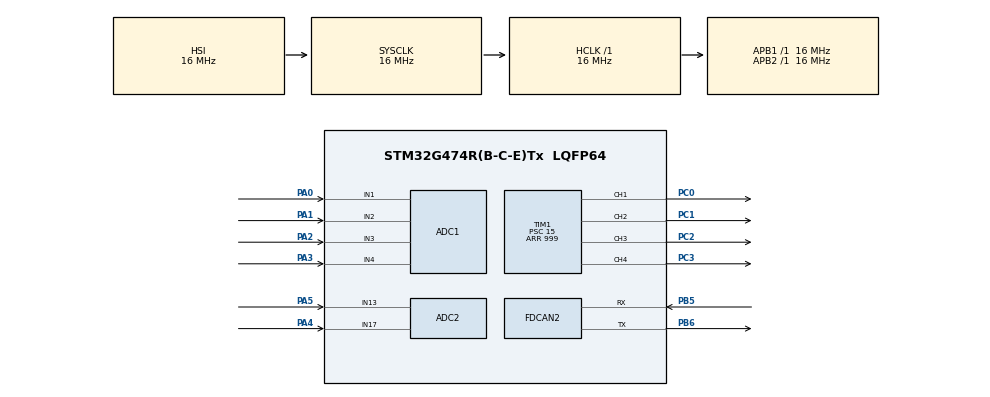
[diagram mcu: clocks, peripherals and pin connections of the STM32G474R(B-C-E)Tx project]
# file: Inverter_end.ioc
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ADC1.Channel-0\#ChannelRegularConversion=ADC_CHANNEL_1
ADC1.Channel-1\#ChannelRegularConversion=ADC_CHANNEL_2
ADC1.Channel-2\#ChannelRegularConversion=ADC_CHANNEL_3
ADC1.Channel-3\#ChannelRegularConversion=ADC_CHANNEL_4
ADC1.ClockPrescaler=ADC_CLOCK_ASYNC_DIV1
ADC1.ContinuousConvMode=ENABLE
ADC1.DMAContinuousRequests=DISABLE
ADC1.EOCSelection=ADC_EOC_SEQ_CONV
ADC1.NbrOfConversion=4
ADC1.NbrOfConversionFlag=1
ADC1.OffsetNumber-0\#ChannelRegularConversion=ADC_OFFSET_NONE
ADC1.OffsetNumber-1\#ChannelRegularConversion=ADC_OFFSET_NONE
ADC1.OffsetNumber-2\#ChannelRegularConversion=ADC_OFFSET_NONE
ADC1.OffsetNumber-3\#ChannelRegularConversion=ADC_OFFSET_NONE
ADC1.Overrun=ADC_OVR_DATA_OVERWRITTEN
ADC1.Rank-0\#ChannelRegularConversion=1
ADC1.Rank-1\#ChannelRegularConversion=2
ADC1.Rank-2\#ChannelRegularConversion=3
ADC1.Rank-3\#ChannelRegularConversion=4
ADC1.SamplingTime-0\#ChannelRegularConversion=ADC_SAMPLETIME_2CYCLES_5
ADC1.SamplingTime-1\#ChannelRegularConversion=ADC_SAMPLETIME_6CYCLES_5
ADC1.SamplingTime-2\#ChannelRegularConversion=ADC_SAMPLETIME_12CYCLES_5
ADC1.SamplingTime-3\#ChannelRegularConversion=ADC_SAMPLETIME_24CYCLES_5
ADC1.master=1
ADC2.Channel-0\#ChannelRegularConversion=ADC_CHANNEL_17
ADC2.Channel-1\#ChannelRegularConversion=ADC_CHANNEL_13
ADC2.ClockPrescaler=ADC_CLOCK_ASYNC_DIV1
ADC2.ContinuousConvMode=ENABLE
ADC2.DMAContinuousRequests=DISABLE
ADC2.EOCSelection=ADC_EOC_SEQ_CONV
ADC2.NbrOfConversion=2
ADC2.NbrOfConversionFlag=1
ADC2.OffsetNumber-0\#ChannelRegularConversion=ADC_OFFSET_NONE
ADC2.OffsetNumber-1\#ChannelRegularConversion=ADC_OFFSET_NONE
ADC2.Overrun=ADC_OVR_DATA_OVERWRITTEN
ADC2.Rank-0\#ChannelRegularConversion=1
ADC2.Rank-1\#ChannelRegularConversion=2
ADC2.SamplingTime-0\#ChannelRegularConversion=ADC_SAMPLETIME_2CYCLES_5
ADC2.SamplingTime-1\#ChannelRegularConversion=ADC_SAMPLETIME_6CYCLES_5
Dma.ADC1.0.Direction=DMA_PERIPH_TO_MEMORY
Dma.ADC1.0.EventEnable=DISABLE
Dma.ADC1.0.Instance=DMA1_Channel1
Dma.ADC1.0.MemDataAlignment=DMA_MDATAALIGN_WORD
Dma.ADC1.0.MemInc=DMA_MINC_ENABLE
Dma.ADC1.0.Mode=DMA_NORMAL
Dma.ADC1.0.PeriphDataAlignment=DMA_PDATAALIGN_WORD
Dma.ADC1.0.PeriphInc=DMA_PINC_DISABLE
Dma.ADC1.0.Polarity=HAL_DMAMUX_REQ_GEN_RISING
Dma.ADC1.0.Priority=DMA_PRIORITY_LOW
Dma.ADC1.0.RequestNumber=1
Dma.ADC1.0.SignalID=NONE
Dma.ADC1.0.SyncEnable=DISABLE
Dma.ADC1.0.SyncPolarity=HAL_DMAMUX_SYNC_NO_EVENT
Dma.ADC1.0.SyncRequestNumber=1
Dma.ADC1.0.SyncSignalID=NONE
Dma.ADC2.1.Direction=DMA_PERIPH_TO_MEMORY
Dma.ADC2.1.EventEnable=DISABLE
Dma.ADC2.1.Instance=DMA1_Channel2
Dma.ADC2.1.MemDataAlignment=DMA_MDATAALIGN_WORD
Dma.ADC2.1.MemInc=DMA_MINC_ENABLE
Dma.ADC2.1.Mode=DMA_NORMAL
Dma.ADC2.1.PeriphDataAlignment=DMA_PDATAALIGN_WORD
Dma.ADC2.1.PeriphInc=DMA_PINC_DISABLE
Dma.ADC2.1.Polarity=HAL_DMAMUX_REQ_GEN_RISING
Dma.ADC2.1.Priority=DMA_PRIORITY_LOW
Dma.ADC2.1.RequestNumber=1
Dma.ADC2.1.SignalID=NONE
Dma.ADC2.1.SyncEnable=DISABLE
Dma.ADC2.1.SyncPolarity=HAL_DMAMUX_SYNC_NO_EVENT
Dma.ADC2.1.SyncRequestNumber=1
Dma.ADC2.1.SyncSignalID=NONE
Dma.Request0=ADC1
Dma.Request1=ADC2
FDCAN2.CalculateBaudRateNominal=333333
FDCAN2.CalculateTimeBitNominal=3000
FDCAN2.CalculateTimeQuantumNominal=1000.0
FREERTOS.BinarySemaphores01=myBinarySem01,Dynamic,NULL,Available;myBinarySem02,Dynamic,NULL,Available
FREERTOS.Tasks01=defaultTask,0,128,StartDefaultTask,Default,NULL,Dynamic,NULL,NULL;myTask02,0,128,StartTask02,Default,NULL,Dynamic,NULL,NULL;myTask03,0,128,StartTask03,Default,NULL,Dynamic,NULL,NULL
FREERTOS.configUSE_NEWLIB_REENTRANT=1
Mcu.Family=STM32G4
Mcu.Name=STM32G474R(B-C-E)Tx
Mcu.Package=LQFP64
NVIC.ADC1_2_IRQn=true\:5\:0\:false\:false\:true\:true\:true\:true\:true
NVIC.DMA1_Channel1_IRQn=true\:5\:0\:false\:false\:true\:true\:false\:true\:true
NVIC.DMA1_Channel2_IRQn=true\:5\:0\:false\:false\:true\:true\:false\:true\:true
NVIC.FDCAN2_IT0_IRQn=true\:5\:0\:false\:false\:true\:true\:true\:true\:true
NVIC.PriorityGroup=NVIC_PRIORITYGROUP_4
NVIC.TIM1_UP_TIM16_IRQn=true\:5\:0\:false\:false\:true\:true\:true\:true\:true
PA0.Mode=IN1-Single-Ended
PA0.Signal=ADC1_IN1
PA1.Mode=IN2-Single-Ended
PA1.Signal=ADC1_IN2
PA2.Mode=IN3-Single-Ended
PA2.Signal=ADC1_IN3
PA3.Mode=IN4-Single-Ended
PA3.Signal=ADC1_IN4
PA4.Mode=IN17-Single-Ended
PA4.Signal=ADC2_IN17
PA5.Mode=IN13-Single-Ended
PA5.Signal=ADC2_IN13
PB5.Mode=FDCAN_Activate
PB5.Signal=FDCAN2_RX
PB6.Mode=FDCAN_Activate
PB6.Signal=FDCAN2_TX
PC0.Signal=S_TIM1_CH1
PC1.Signal=S_TIM1_CH2
PC2.Signal=S_TIM1_CH3
PC3.Signal=S_TIM1_CH4
ProjectManager.HeapSize=0x200
ProjectManager.StackSize=0x400
ProjectManager.TargetToolchain=STM32CubeIDE
RCC.ADC12Freq_Value=16000000
RCC.ADC345Freq_Value=16000000
RCC.AHBFreq_Value=16000000
RCC.APB1Freq_Value=16000000
RCC.APB1TimFreq_Value=16000000
RCC.APB2Freq_Value=16000000
RCC.APB2TimFreq_Value=16000000
RCC.CortexFreq_Value=16000000
RCC.EXTERNAL_CLOCK_VALUE=12288000
RCC.HCLKFreq_Value=16000000
RCC.HSE_VALUE=8000000
RCC.HSI48_VALUE=48000000
RCC.HSI_VALUE=16000000
RCC.LSE_VALUE=32768
RCC.SYSCLKFreq_VALUE=16000000
RCC.USBFreq_Value=64000000
RCC.VCOOutputFreq_Value=128000000
SH.S_TIM1_CH1.0=TIM1_CH1,PWM Generation1 CH1
SH.S_TIM1_CH2.0=TIM1_CH2,PWM Generation2 CH2
SH.S_TIM1_CH3.0=TIM1_CH3,PWM Generation3 CH3
SH.S_TIM1_CH4.0=TIM1_CH4,PWM Generation4 CH4
TIM1.Channel-PWM\ Generation1\ CH1=TIM_CHANNEL_1
TIM1.Channel-PWM\ Generation2\ CH2=TIM_CHANNEL_2
TIM1.Channel-PWM\ Generation3\ CH3=TIM_CHANNEL_3
TIM1.Channel-PWM\ Generation4\ CH4=TIM_CHANNEL_4
TIM1.PeriodNoDither=999
TIM1.Prescaler=15
VP_FREERTOS_VS_CMSIS_V1.Mode=CMSIS_V1
VP_SYS_VS_DBSignals.Mode=DisableDeadBatterySignals
board=custom

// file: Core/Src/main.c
/* USER CODE BEGIN Header */
/**
  ******************************************************************************
  * @file           : main.c
  * @brief          : Main program body
  ******************************************************************************
  * @attention
  *
  * Copyright (c) 2024 STMicroelectronics.
  * All rights reserved.
  *
  * This software is licensed under terms that can be found in the LICENSE file
  * in the root directory of this software component.
  * If no LICENSE file comes with this software, it is provided AS-IS.
  *
  ******************************************************************************
  */
/* USER CODE END Header */
#include "main.h"
#include "cmsis_os.h"
#include <stdbool.h>

#include "string.h"
#include "stdio.h"
#include "math.h"
#include "stdlib.h"

FDCAN_TxHeaderTypeDef txHeader;

ADC_HandleTypeDef hadc1;
ADC_HandleTypeDef hadc2;
DMA_HandleTypeDef hdma_adc1;
DMA_HandleTypeDef hdma_adc2;

FDCAN_HandleTypeDef hfdcan2;

TIM_HandleTypeDef htim1;

osThreadId defaultTaskHandle;
osThreadId myTask02Handle;
osThreadId myTask03Handle;
osSemaphoreId myBinarySem01Handle;
osSemaphoreId myBinarySem02Handle;

void SystemClock_Config(void);
static void MX_GPIO_Init(void);
static void MX_DMA_Init(void);
static void MX_ADC1_Init(void);
static void MX_FDCAN2_Init(void);
static void MX_TIM1_Init(void);
static void MX_ADC2_Init(void);
void StartDefaultTask(void const * argument);
void StartTask02(void const * argument);
void StartTask03(void const * argument);

/* USER CODE BEGIN PFP */
void startSPWM(float switchingFreq, float sinFreq, float amp, bool reversed);
void invCommand(uint8_t sw1, uint8_t amplitude1, uint8_t frequency1);
void stopSPWM();
void ERROR_FUNCTION(int error_code);
uint8_t getTemp(uint8_t a);

int START_FLAG = 0;
uint8_t SYSTEM_STATE = 0;
int ERROR_CODE = '0';

HAL_StatusTypeDef ret;

uint16_t samples;
uint16_t * lookUp;
uint16_t num1 = 0, num2, num3;
uint16_t count = 0;
bool directionReversed = false;
uint8_t sw, frequency, amplitude;

int v;
/*
uint32_t AD_RES_BUFFER[4];
ADC_HandleTypeDef hadc1;
DMA_HandleTypeDef hdma_adc1;
*/
uint32_t ADC_Reads[4];
uint32_t ADC_Reads2[2];
uint8_t txData[8];

int flag;
int a;
int b;
int c;
int d;
int e = 1;
uint32_t error;  // or use an appropriate size based on your needs

volatile uint8_t temp1;
volatile uint8_t temp1_arr[2];

FDCAN_HandleTypeDef hfdcan;
FDCAN_TxHeaderTypeDef TxHeader;

uint8_t CAN_DATA_Tx[8];

uint8_t error_tra[2];

FDCAN_RxHeaderTypeDef RxHeader; // FDCAN RX Header
uint8_t FDCAN_DATA_BUFF[3];       // Buffer for received CAN data
int CAN_ERROR = 0;

/* Private user code ---------------------------------------------------------*/
/* USER CODE BEGIN 0 */
void FDCAN_Init(void) {
	txHeader.Identifier = 0x123; // Example CAN ID
	txHeader.IdType = FDCAN_STANDARD_ID;
	txHeader.TxFrameType = FDCAN_DATA_FRAME;
	txHeader.DataLength = FDCAN_DLC_BYTES_8;
	txHeader.ErrorStateIndicator = FDCAN_ESI_ACTIVE;
	txHeader.BitRateSwitch = FDCAN_BRS_ON;
	txHeader.FDFormat = FDCAN_FD_CAN;
	txHeader.TxEventFifoControl = FDCAN_NO_TX_EVENTS;
	txHeader.MessageMarker = 0;
}

void TIM1_UP_IRQHandler(void) {
    if (__HAL_TIM_GET_FLAG(&htim1, TIM_FLAG_UPDATE) != RESET) {
        __HAL_TIM_CLEAR_FLAG(&htim1, TIM_FLAG_UPDATE);

        // Update PWM duty cycle for all 4 channels
        TIM1->CCR1 = lookUp[count];
        TIM1->CCR2 = lookUp[count];
        TIM1->CCR3 = lookUp[count];
        TIM1->CCR4 = lookUp[count]; // For the 4th channel

        // Increment counter for the next sample
        count = (count + 1) % samples; // Wrap around using modulo
    }
}

/* USER CODE END 0 */
void HAL_FDCAN_RxFifo0MsgPendingCallback(FDCAN_HandleTypeDef *hfdcan){

	if(HAL_FDCAN_GetRxMessage(hfdcan, FDCAN_RX_FIFO0, &RxHeader, FDCAN_DATA_BUFF) != HAL_OK){
		ERROR_FUNCTION(CAN_ERROR);
	}
	invCommand(FDCAN_DATA_BUFF[0],FDCAN_DATA_BUFF[2] , FDCAN_DATA_BUFF[1]);
}

void ERROR_FUNCTION(int error_code){
	//HAL_GPIO_WritePin(GPIOA, GPIO_PIN_6, GPIO_PIN_RESET);
	invCommand(0, 0, 0);
	SYSTEM_STATE = 0;
	error_tra[0] = SYSTEM_STATE;
	error_tra[1] = error_code;
	HAL_FDCAN_AddMessageToTxFifoQ(&hfdcan, &TxHeader, error_tra);
	__disable_irq();
	while(1){
		HAL_GPIO_TogglePin(GPIOB, GPIO_PIN_12);
		HAL_GPIO_TogglePin(GPIOB, GPIO_PIN_13);
		HAL_GPIO_TogglePin(GPIOB, GPIO_PIN_14);
		HAL_GPIO_TogglePin(GPIOB, GPIO_PIN_15);
		HAL_GPIO_TogglePin(GPIOB, GPIO_PIN_2);
		HAL_Delay(50);

		/*HAL_GPIO_WritePin(GPIOB, GPIO_PIN_12, GPIO_PIN_SET);
		HAL_GPIO_WritePin(GPIOB, GPIO_PIN_13, GPIO_PIN_SET);
		HAL_GPIO_WritePin(GPIOB, GPIO_PIN_14, GPIO_PIN_SET);
		HAL_GPIO_WritePin(GPIOB, GPIO_PIN_15, GPIO_PIN_SET);
		HAL_GPIO_WritePin(GPIOB, GPIO_PIN_2, GPIO_PIN_SET);*/
	}
}
/* USER CODE END PFP */

int main(void)
{

  /* MCU Configuration--------------------------------------------------------*/

  /* Reset of all peripherals, Initializes the Flash interface and the Systick. */
  HAL_Init();

  /* Configure the system clock */
  SystemClock_Config();

  /* Initialize all configured peripherals */
  MX_GPIO_Init();
  MX_DMA_Init();
  MX_ADC1_Init();
  MX_FDCAN2_Init();
  MX_TIM1_Init();
  MX_ADC2_Init();

  /* Create the semaphores(s) */
  /* definition and creation of myBinarySem01 */
  osSemaphoreDef(myBinarySem01);
  myBinarySem01Handle = osSemaphoreCreate(osSemaphore(myBinarySem01), 1);

  /* definition and creation of myBinarySem02 */
  osSemaphoreDef(myBinarySem02);
  myBinarySem02Handle = osSemaphoreCreate(osSemaphore(myBinarySem02), 1);

  /* Create the thread(s) */
  /* definition and creation of defaultTask */
  osThreadDef(defaultTask, StartDefaultTask, osPriorityNormal, 0, 128);
  defaultTaskHandle = osThreadCreate(osThread(defaultTask), NULL);

  /* definition and creation of myTask02 */
  osThreadDef(myTask02, StartTask02, osPriorityNormal, 0, 128);
  myTask02Handle = osThreadCreate(osThread(myTask02), NULL);

  /* definition and creation of myTask03 */
  osThreadDef(myTask03, StartTask03, osPriorityNormal, 0, 128);
  myTask03Handle = osThreadCreate(osThread(myTask03), NULL);

  /* Start scheduler */
  osKernelStart();

  /* We should never get here as control is now taken by the scheduler */

  /* Infinite loop */
  /* USER CODE BEGIN WHILE */
  /*
  FDCAN_TxHeaderTypeDef txHeader;

          // Fill TxHeader
          txHeader.Identifier = 0x123; // Example CAN ID
          txHeader.IdType = FDCAN_STANDARD_ID;
          txHeader.TxFrameType = FDCAN_DATA_FRAME;
          txHeader.DataLength = FDCAN_DLC_BYTES_8;
          txHeader.ErrorStateIndicator = FDCAN_ESI_ACTIVE;
          txHeader.BitRateSwitch = FDCAN_BRS_ON;
          txHeader.FDFormat = FDCAN_FD_CAN;
          txHeader.TxEventFifoControl = FDCAN_NO_TX_EVENTS;
          txHeader.MessageMarker = 0;*/

    /* Infinite loop */
    /* USER CODE BEGIN WHILE */
    while (1)
    {
    /* USER CODE END WHILE */

    }
}

void SystemClock_Config(void)
{
  RCC_OscInitTypeDef RCC_OscInitStruct = {0};
  RCC_ClkInitTypeDef RCC_ClkInitStruct = {0};

  /** Configure the main internal regulator output voltage
  */
  HAL_PWREx_ControlVoltageScaling(PWR_REGULATOR_VOLTAGE_SCALE1);

  /** Initializes the RCC Oscillators according to the specified parameters
  * in the RCC_OscInitTypeDef structure.
  */
  RCC_OscInitStruct.OscillatorType = RCC_OSCILLATORTYPE_HSI;
  RCC_OscInitStruct.HSIState = RCC_HSI_ON;
  RCC_OscInitStruct.HSICalibrationValue = RCC_HSICALIBRATION_DEFAULT;
  RCC_OscInitStruct.PLL.PLLState = RCC_PLL_NONE;
  if (HAL_RCC_OscConfig(&RCC_OscInitStruct) != HAL_OK)
  {
    Error_Handler();
  }

  /** Initializes the CPU, AHB and APB buses clocks
  */
  RCC_ClkInitStruct.ClockType = RCC_CLOCKTYPE_HCLK|RCC_CLOCKTYPE_SYSCLK
                              |RCC_CLOCKTYPE_PCLK1|RCC_CLOCKTYPE_PCLK2;
  RCC_ClkInitStruct.SYSCLKSource = RCC_SYSCLKSOURCE_HSI;
  RCC_ClkInitStruct.AHBCLKDivider = RCC_SYSCLK_DIV1;
  RCC_ClkInitStruct.APB1CLKDivider = RCC_HCLK_DIV1;
  RCC_ClkInitStruct.APB2CLKDivider = RCC_HCLK_DIV1;

  if (HAL_RCC_ClockConfig(&RCC_ClkInitStruct, FLASH_LATENCY_0) != HAL_OK)
  {
    Error_Handler();
  }
}

static void MX_ADC1_Init(void)
{

  ADC_MultiModeTypeDef multimode = {0};
  ADC_ChannelConfTypeDef sConfig = {0};

  /** Common config
  */
  hadc1.Instance = ADC1;
  hadc1.Init.ClockPrescaler = ADC_CLOCK_ASYNC_DIV1;
  hadc1.Init.Resolution = ADC_RESOLUTION_12B;
  hadc1.Init.DataAlign = ADC_DATAALIGN_RIGHT;
  hadc1.Init.GainCompensation = 0;
  hadc1.Init.ScanConvMode = ADC_SCAN_ENABLE;
  hadc1.Init.EOCSelection = ADC_EOC_SEQ_CONV;
  hadc1.Init.LowPowerAutoWait = DISABLE;
  hadc1.Init.ContinuousConvMode = ENABLE;
  hadc1.Init.NbrOfConversion = 4;
  hadc1.Init.DiscontinuousConvMode = DISABLE;
  hadc1.Init.ExternalTrigConv = ADC_SOFTWARE_START;
  hadc1.Init.ExternalTrigConvEdge = ADC_EXTERNALTRIGCONVEDGE_NONE;
  hadc1.Init.DMAContinuousRequests = DISABLE;
  hadc1.Init.Overrun = ADC_OVR_DATA_OVERWRITTEN;
  hadc1.Init.OversamplingMode = DISABLE;
  if (HAL_ADC_Init(&hadc1) != HAL_OK)
  {
    Error_Handler();
  }

  /** Configure the ADC multi-mode
  */
  multimode.Mode = ADC_MODE_INDEPENDENT;
  if (HAL_ADCEx_MultiModeConfigChannel(&hadc1, &multimode) != HAL_OK)
  {
    Error_Handler();
  }

  /** Configure Regular Channel
  */
  sConfig.Channel = ADC_CHANNEL_1;
  sConfig.Rank = ADC_REGULAR_RANK_1;
  sConfig.SamplingTime = ADC_SAMPLETIME_2CYCLES_5;
  sConfig.SingleDiff = ADC_SINGLE_ENDED;
  sConfig.OffsetNumber = ADC_OFFSET_NONE;
  sConfig.Offset = 0;
  if (HAL_ADC_ConfigChannel(&hadc1, &sConfig) != HAL_OK)
  {
    Error_Handler();
  }

  /** Configure Regular Channel
  */
  sConfig.Channel = ADC_CHANNEL_2;
  sConfig.Rank = ADC_REGULAR_RANK_2;
  sConfig.SamplingTime = ADC_SAMPLETIME_6CYCLES_5;
  if (HAL_ADC_ConfigChannel(&hadc1, &sConfig) != HAL_OK)
  {
    Error_Handler();
  }

  /** Configure Regular Channel
  */
  sConfig.Channel = ADC_CHANNEL_3;
  sConfig.Rank = ADC_REGULAR_RANK_3;
  sConfig.SamplingTime = ADC_SAMPLETIME_12CYCLES_5;
  if (HAL_ADC_ConfigChannel(&hadc1, &sConfig) != HAL_OK)
  {
    Error_Handler();
  }

  /** Configure Regular Channel
  */
  sConfig.Channel = ADC_CHANNEL_4;
  sConfig.Rank = ADC_REGULAR_RANK_4;
  sConfig.SamplingTime = ADC_SAMPLETIME_24CYCLES_5;
  if (HAL_ADC_ConfigChannel(&hadc1, &sConfig) != HAL_OK)
  {
    Error_Handler();
  }

}

static void MX_ADC2_Init(void)
{

  ADC_ChannelConfTypeDef sConfig = {0};

  /** Common config
  */
  hadc2.Instance = ADC2;
  hadc2.Init.ClockPrescaler = ADC_CLOCK_ASYNC_DIV1;
  hadc2.Init.Resolution = ADC_RESOLUTION_12B;
  hadc2.Init.DataAlign = ADC_DATAALIGN_RIGHT;
  hadc2.Init.GainCompensation = 0;
  hadc2.Init.ScanConvMode = ADC_SCAN_ENABLE;
  hadc2.Init.EOCSelection = ADC_EOC_SEQ_CONV;
  hadc2.Init.LowPowerAutoWait = DISABLE;
  hadc2.Init.ContinuousConvMode = ENABLE;
  hadc2.Init.NbrOfConversion = 2;
  hadc2.Init.DiscontinuousConvMode = DISABLE;
  hadc2.Init.ExternalTrigConv = ADC_SOFTWARE_START;
  hadc2.Init.ExternalTrigConvEdge = ADC_EXTERNALTRIGCONVEDGE_NONE;
  hadc2.Init.DMAContinuousRequests = DISABLE;
  hadc2.Init.Overrun = ADC_OVR_DATA_OVERWRITTEN;
  hadc2.Init.OversamplingMode = DISABLE;
  if (HAL_ADC_Init(&hadc2) != HAL_OK)
  {
    Error_Handler();
  }

  /** Configure Regular Channel
  */
  sConfig.Channel = ADC_CHANNEL_17;
  sConfig.Rank = ADC_REGULAR_RANK_1;
  sConfig.SamplingTime = ADC_SAMPLETIME_2CYCLES_5;
  sConfig.SingleDiff = ADC_SINGLE_ENDED;
  sConfig.OffsetNumber = ADC_OFFSET_NONE;
  sConfig.Offset = 0;
  if (HAL_ADC_ConfigChannel(&hadc2, &sConfig) != HAL_OK)
  {
    Error_Handler();
  }

  /** Configure Regular Channel
  */
  sConfig.Channel = ADC_CHANNEL_13;
  sConfig.Rank = ADC_REGULAR_RANK_2;
  sConfig.SamplingTime = ADC_SAMPLETIME_6CYCLES_5;
  if (HAL_ADC_ConfigChannel(&hadc2, &sConfig) != HAL_OK)
  {
    Error_Handler();
  }

}

static void MX_FDCAN2_Init(void)
{

  hfdcan2.Instance = FDCAN2;
  hfdcan2.Init.ClockDivider = FDCAN_CLOCK_DIV1;
  hfdcan2.Init.FrameFormat = FDCAN_FRAME_CLASSIC;
  hfdcan2.Init.Mode = FDCAN_MODE_NORMAL;
  hfdcan2.Init.AutoRetransmission = DISABLE;
  hfdcan2.Init.TransmitPause = DISABLE;
  hfdcan2.Init.ProtocolException = DISABLE;
  hfdcan2.Init.NominalPrescaler = 16;
  hfdcan2.Init.NominalSyncJumpWidth = 1;
  hfdcan2.Init.NominalTimeSeg1 = 1;
  hfdcan2.Init.NominalTimeSeg2 = 1;
  hfdcan2.Init.DataPrescaler = 1;
  hfdcan2.Init.DataSyncJumpWidth = 1;
  hfdcan2.Init.DataTimeSeg1 = 1;
  hfdcan2.Init.DataTimeSeg2 = 1;
  hfdcan2.Init.StdFiltersNbr = 0;
  hfdcan2.Init.ExtFiltersNbr = 0;
  hfdcan2.Init.TxFifoQueueMode = FDCAN_TX_FIFO_OPERATION;
  if (HAL_FDCAN_Init(&hfdcan2) != HAL_OK)
  {
    Error_Handler();
  }

}

static void MX_TIM1_Init(void)
{

  TIM_MasterConfigTypeDef sMasterConfig = {0};
  TIM_OC_InitTypeDef sConfigOC = {0};
  TIM_BreakDeadTimeConfigTypeDef sBreakDeadTimeConfig = {0};

  htim1.Instance = TIM1;
  htim1.Init.Prescaler = 15;
  htim1.Init.CounterMode = TIM_COUNTERMODE_UP;
  htim1.Init.Period = 999;
  htim1.Init.ClockDivision = TIM_CLOCKDIVISION_DIV1;
  htim1.Init.RepetitionCounter = 0;
  htim1.Init.AutoReloadPreload = TIM_AUTORELOAD_PRELOAD_DISABLE;
  if (HAL_TIM_PWM_Init(&htim1) != HAL_OK)
  {
    Error_Handler();
  }
  sMasterConfig.MasterOutputTrigger = TIM_TRGO_RESET;
  sMasterConfig.MasterOutputTrigger2 = TIM_TRGO2_RESET;
  sMasterConfig.MasterSlaveMode = TIM_MASTERSLAVEMODE_DISABLE;
  if (HAL_TIMEx_MasterConfigSynchronization(&htim1, &sMasterConfig) != HAL_OK)
  {
    Error_Handler();
  }
  sConfigOC.OCMode = TIM_OCMODE_PWM1;
  sConfigOC.Pulse = 0;
  sConfigOC.OCPolarity = TIM_OCPOLARITY_HIGH;
  sConfigOC.OCNPolarity = TIM_OCNPOLARITY_HIGH;
  sConfigOC.OCFastMode = TIM_OCFAST_DISABLE;
  sConfigOC.OCIdleState = TIM_OCIDLESTATE_RESET;
  sConfigOC.OCNIdleState = TIM_OCNIDLESTATE_RESET;
  if (HAL_TIM_PWM_ConfigChannel(&htim1, &sConfigOC, TIM_CHANNEL_1) != HAL_OK)
  {
    Error_Handler();
  }
  if (HAL_TIM_PWM_ConfigChannel(&htim1, &sConfigOC, TIM_CHANNEL_2) != HAL_OK)
  {
    Error_Handler();
  }
  if (HAL_TIM_PWM_ConfigChannel(&htim1, &sConfigOC, TIM_CHANNEL_3) != HAL_OK)
  {
    Error_Handler();
  }
  if (HAL_TIM_PWM_ConfigChannel(&htim1, &sConfigOC, TIM_CHANNEL_4) != HAL_OK)
  {
    Error_Handler();
  }
  sBreakDeadTimeConfig.OffStateRunMode = TIM_OSSR_DISABLE;
  sBreakDeadTimeConfig.OffStateIDLEMode = TIM_OSSI_DISABLE;
  sBreakDeadTimeConfig.LockLevel = TIM_LOCKLEVEL_OFF;
  sBreakDeadTimeConfig.DeadTime = 0;
  sBreakDeadTimeConfig.BreakState = TIM_BREAK_DISABLE;
  sBreakDeadTimeConfig.BreakPolarity = TIM_BREAKPOLARITY_HIGH;
  sBreakDeadTimeConfig.BreakFilter = 0;
  sBreakDeadTimeConfig.BreakAFMode = TIM_BREAK_AFMODE_INPUT;
  sBreakDeadTimeConfig.Break2State = TIM_BREAK2_DISABLE;
  sBreakDeadTimeConfig.Break2Polarity = TIM_BREAK2POLARITY_HIGH;
  sBreakDeadTimeConfig.Break2Filter = 0;
  sBreakDeadTimeConfig.Break2AFMode = TIM_BREAK_AFMODE_INPUT;
  sBreakDeadTimeConfig.AutomaticOutput = TIM_AUTOMATICOUTPUT_DISABLE;
  if (HAL_TIMEx_ConfigBreakDeadTime(&htim1, &sBreakDeadTimeConfig) != HAL_OK)
  {
    Error_Handler();
  }
  HAL_TIM_MspPostInit(&htim1);

}

static void MX_DMA_Init(void)
{

  /* DMA controller clock enable */
  __HAL_RCC_DMAMUX1_CLK_ENABLE();
  __HAL_RCC_DMA1_CLK_ENABLE();

  /* DMA interrupt init */
  /* DMA1_Channel1_IRQn interrupt configuration */
  HAL_NVIC_SetPriority(DMA1_Channel1_IRQn, 5, 0);
  HAL_NVIC_EnableIRQ(DMA1_Channel1_IRQn);
  /* DMA1_Channel2_IRQn interrupt configuration */
  HAL_NVIC_SetPriority(DMA1_Channel2_IRQn, 5, 0);
  HAL_NVIC_EnableIRQ(DMA1_Channel2_IRQn);

}

static void MX_GPIO_Init(void)
{

  /* GPIO Ports Clock Enable */
  __HAL_RCC_GPIOC_CLK_ENABLE();
  __HAL_RCC_GPIOA_CLK_ENABLE();
  __HAL_RCC_GPIOB_CLK_ENABLE();

}

/* USER CODE BEGIN 4 */

uint8_t getTemp(uint8_t a){
	float adc_val;
 	float beta_val=4304.05;
	float Vin= 5.00;
	float Rs=20000.00;
	float R25=32762.00;

	  adc_val = a; // get the adc value
	  float Vout = adc_val * (Vin/4095.00); //4095 = 12 bit resolution
	  float Rt = (Vout * Rs) / (Vin - Vout);
	  float temperature = (1/((1/298.15)+(log(Rt/R25)/beta_val))-272.5);

	//if(a == 1){
		//uint8_t temp1 = 28;
	    uint8_t temp1 = temperature;
		if(temp1>40){
			txData[1] = 2;					//using 2 for temp1 error
		}
		temp1_arr[1] = temp1%10; 				//first digit(tens place)
 		temp1_arr[0] = temp1 - temp1_arr[1];	//second digit (one's place)
		temp1_arr[0] = temp1_arr[0]/10;

		temp1_arr[1] = temp1_arr[1] + '0';		//ascii value of resp dec value taken
		temp1_arr[0] = temp1_arr[0] + '0';

		return temp1;
}
/* USER CODE END 4 */

/* USER CODE BEGIN Header_StartDefaultTask */
/**
  * @brief  Function implementing the defaultTask thread.
  * @param  argument: Not used
  * @retval None
  */

void invCommand(uint8_t sw1, uint8_t amplitude1, uint8_t frequency1) {

	sw = sw1;
	amplitude = amplitude1;
	frequency = (frequency1 * 5) + 5;

}
void startSPWM(float switchingFreq, float sinFreq, float amp, bool reversed) { //amp 0 to 1 and sinfrq > 0.01 to 10000 and switchingfreq from 100+
	HAL_TIM_PWM_Stop(&htim1, TIM_CHANNEL_1);//max switching freq to sinfreq ratio is 25000
	HAL_TIMEx_PWMN_Stop(&htim1, TIM_CHANNEL_1);
	HAL_TIM_PWM_Stop(&htim1, TIM_CHANNEL_2);
	HAL_TIMEx_PWMN_Stop(&htim1, TIM_CHANNEL_2);
	HAL_TIM_PWM_Stop(&htim1, TIM_CHANNEL_3);
	HAL_TIMEx_PWMN_Stop(&htim1, TIM_CHANNEL_3);
	HAL_TIM_PWM_Stop(&htim1, TIM_CHANNEL_4);
	HAL_TIMEx_PWMN_Stop(&htim1, TIM_CHANNEL_4);
	__HAL_TIM_DISABLE_IT(&htim1, TIM_IT_UPDATE);
	directionReversed = reversed;

	if (sinFreq < 0.1) {
		TIM1-> PSC = (0.4 / sinFreq) - 1.0;
		sinFreq = 0.4;
		switchingFreq *= TIM1->PSC;

	}
	else {
		TIM1-> PSC = 0;
	}
	samples = switchingFreq/sinFreq;
	while (samples > 25000) {
		switchingFreq-=1;
		samples = switchingFreq/sinFreq;
	}
	TIM1->ARR = HAL_RCC_GetPCLK2Freq() / (samples * sinFreq);
	samples /= 3;
	amp *= 1;
	count = 0;
	num1 = 0;
	free(lookUp);
	lookUp = (uint16_t *)malloc(samples * sizeof(samples));
	for (uint16_t i = 0; i < samples; i++) {
		lookUp[i] = (sin(2 * 3.14 * ((double)i/(double)samples)) * (TIM1->ARR / 2.05)) * amp  + (TIM1->ARR / 2);
	}
	  __HAL_TIM_ENABLE_IT(&htim1, TIM_IT_UPDATE );
	  HAL_TIM_PWM_Start(&htim1, TIM_CHANNEL_1);
	  HAL_TIMEx_PWMN_Start(&htim1, TIM_CHANNEL_1);
	  HAL_TIM_PWM_Start(&htim1, TIM_CHANNEL_2);
	  HAL_TIMEx_PWMN_Start(&htim1, TIM_CHANNEL_2);
	  HAL_TIM_PWM_Start(&htim1, TIM_CHANNEL_3);
	  HAL_TIMEx_PWMN_Start(&htim1, TIM_CHANNEL_3);
	  HAL_TIM_PWM_Start(&htim1, TIM_CHANNEL_4);
	  HAL_TIMEx_PWMN_Start(&htim1, TIM_CHANNEL_4);
}
void stopSPWM() {
	HAL_TIM_PWM_Stop(&htim1, TIM_CHANNEL_1);
	HAL_TIMEx_PWMN_Stop(&htim1, TIM_CHANNEL_1);
	HAL_TIM_PWM_Stop(&htim1, TIM_CHANNEL_2);
	HAL_TIMEx_PWMN_Stop(&htim1, TIM_CHANNEL_2);
	HAL_TIM_PWM_Stop(&htim1, TIM_CHANNEL_3);
	HAL_TIMEx_PWMN_Stop(&htim1, TIM_CHANNEL_3);
	HAL_TIM_PWM_Stop(&htim1, TIM_CHANNEL_4);
	HAL_TIMEx_PWMN_Stop(&htim1, TIM_CHANNEL_4);
	__HAL_TIM_DISABLE_IT(&htim1, TIM_IT_UPDATE);

	free(lookUp);
}

void FDCAN_Transmit(int err) {
    FDCAN_TxHeaderTypeDef txHeader;
    c++;

    // Fill TxHeader

    // Copy data into txData (convert to bytes)

        txData[2] = (uint8_t)(getTemp(ADC_Reads[0]));
        txData[3] = (uint8_t)(getTemp(ADC_Reads[1]));
        txData[4] = (uint8_t)(getTemp(ADC_Reads[2]));
        txData[5] = (uint8_t)(getTemp(ADC_Reads[3]));
        txData[6] = (uint8_t)(getTemp(ADC_Reads2[0]));
        txData[7] = (uint8_t)(getTemp(ADC_Reads2[1]));

        HAL_FDCAN_Start(&hfdcan2);

    // Transmit
        if (HAL_FDCAN_GetTxFifoFreeLevel(&hfdcan2) > 0) {
        	if(HAL_FDCAN_AddMessageToTxFifoQ(&hfdcan2, &txHeader, txData) != HAL_OK){
        		  	  	  			  ERROR_FUNCTION(err);
        		  	  	  		  }
            flag++;  // Increment your flag
        } else {
            // FIFO is full, handle the situation, e.g., retry or wait
        	flag--;// Retry after delay

        	CAN_ERROR = 6;
        	ERROR_FUNCTION(err);
        }/*
        error = HAL_FDCAN_GetError(&hfdcan2);

            // Log or print the error value
            printf("FDCAN Error Code: %lu\n", error);  // Print the error code for debugging

            // Check for specific error conditions
            if (error & FDCAN_FLAG_BUS_OFF) {
                // Handle bus-off condition
                // Reset or reinitialize the CAN bus if necessary
            }

            if (error & FDCAN_FLAG_ERROR_PASSIVE) {
                // Handle error-passive condition
            }
            */
        HAL_FDCAN_DeInit(&hfdcan2);
    e++;
}
/* USER CODE END Header_StartDefaultTask */
void StartDefaultTask(void const * argument)
{
  /* USER CODE BEGIN 5 */

  /* Infinite loop */
  for(;;)
  {

	  HAL_ADC_Start_DMA(&hadc1, ADC_Reads, 4);
	  HAL_ADC_Start_DMA(&hadc2, ADC_Reads2, 2);
	  d++;
	  //osSemaphoreRelease(myBinarySem01Handle);

  }
  /* USER CODE END 5 */
}

void StartTask02(void const * argument)
{
  /* USER CODE BEGIN StartTask02 */
  /* Infinite loop */
  for(;;)
  {
	  //if (osSemaphoreWait(myBinarySem01Handle, osWaitForever) == osOK){

	  while(SYSTEM_STATE == 1){
	  	  		  /*if(HAL_GPIO_ReadPin(GPIOC, GPIO_PIN_14)!= GPIO_PIN_SET){
	  	  		  	 		  ERROR_FUNCTION(MVCU_ERROR);
	  	  		  	 	  }*/
/*
	  	  	  		  if(HAL_FDCAN_AddMessageToTxFifoQ(&hfdcan2, &txHeader, txData) != HAL_OK){
	  	  	  			  ERROR_FUNCTION(CAN_ERROR);
	  	  	  		  }
	  	  	  		  */
		  CAN_ERROR = 2;
	  	  	  		  FDCAN_Transmit(CAN_ERROR);

	  	  	  		HAL_GPIO_WritePin(GPIOC, GPIO_PIN_15, GPIO_PIN_SET);
	  	  	  		  //HAL_Delay(150);
	  	  	  	  }

		  c++;

	  //}

  }
  /* USER CODE END StartTask02 */
}

void StartTask03(void const * argument)
{
  /* USER CODE BEGIN StartTask03 */

  /* Infinite loop */
  for(;;)
  {
	  	  	  while(SYSTEM_STATE == 2){
	  	  		/*if(HAL_GPIO_ReadPin(GPIOC, GPIO_PIN_14)!= GPIO_PIN_SET){
	  	  			 		  ERROR_FUNCTION(MVCU_ERROR);
	  	  			 	  }*/
	  	  		CAN_ERROR = 3;
	  	  	  FDCAN_Transmit(CAN_ERROR);

	  	  		  HAL_GPIO_TogglePin(GPIOC, GPIO_PIN_15);
	  	  	  }
	  	  		  //HAL_Delay(750);

	  	  	  if(SYSTEM_STATE == 0){
	  	  		/*if(HAL_GPIO_ReadPin(GPIOC, GPIO_PIN_14)!= GPIO_PIN_SET){
	  	  			 		  ERROR_FUNCTION(MVCU_ERROR);
	  	  			 	  }*/
	  	  		invCommand(0, 0, 0);

	  	  			HAL_GPIO_WritePin(GPIOC, GPIO_PIN_15, GPIO_PIN_RESET);
	  	  	  }
  }
  /* USER CODE END StartTask03 */
}

void Error_Handler(void)
{
  __disable_irq();
  while (1)
  {
  }
}
